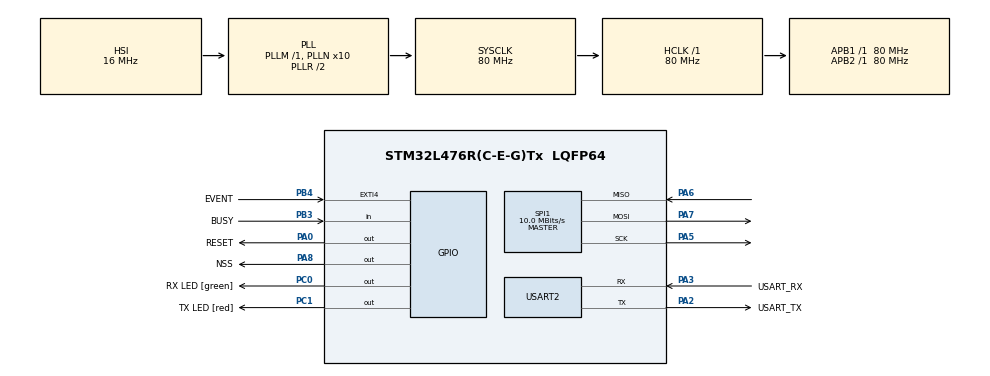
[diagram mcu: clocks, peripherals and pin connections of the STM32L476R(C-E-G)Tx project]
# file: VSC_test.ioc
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LPTIM1.ClockPrescaler=LPTIM_PRESCALER_DIV16
Mcu.Family=STM32L4
Mcu.Name=STM32L476R(C-E-G)Tx
Mcu.Package=LQFP64
NVIC.LPTIM1_IRQn=true\:0\:0\:false\:false\:true\:true\:true\:true
NVIC.PriorityGroup=NVIC_PRIORITYGROUP_4
PA0.GPIO_Label=RESET
PA0.Signal=GPIO_Output
PA13\ (JTMS-SWDIO).GPIO_Label=TMS
PA13\ (JTMS-SWDIO).Mode=Serial_Wire
PA13\ (JTMS-SWDIO).Signal=SYS_JTMS-SWDIO
PA14\ (JTCK-SWCLK).GPIO_Label=TCK
PA14\ (JTCK-SWCLK).Mode=Serial_Wire
PA14\ (JTCK-SWCLK).Signal=SYS_JTCK-SWCLK
PA2.GPIO_Label=USART_TX
PA2.GPIO_Mode=GPIO_MODE_AF_PP
PA2.GPIO_PuPd=GPIO_NOPULL
PA2.GPIO_Speed=GPIO_SPEED_FREQ_VERY_HIGH
PA2.Mode=Asynchronous
PA2.Signal=USART2_TX
PA3.GPIO_Label=USART_RX
PA3.GPIO_Mode=GPIO_MODE_AF_PP
PA3.GPIO_PuPd=GPIO_NOPULL
PA3.GPIO_Speed=GPIO_SPEED_FREQ_VERY_HIGH
PA3.Mode=Asynchronous
PA3.Signal=USART2_RX
PA5.Mode=Full_Duplex_Master
PA5.Signal=SPI1_SCK
PA6.Mode=Full_Duplex_Master
PA6.Signal=SPI1_MISO
PA7.Mode=Full_Duplex_Master
PA7.Signal=SPI1_MOSI
PA8.GPIO_Label=NSS
PA8.Signal=GPIO_Output
PB3\ (JTDO-TRACESWO).GPIO_Label=BUSY
PB3\ (JTDO-TRACESWO).Signal=GPIO_Input
PB4\ (NJTRST).GPIO_Label=EVENT
PB4\ (NJTRST).Signal=GPXTI4
PC0.GPIO_Label=RX LED [green]
PC0.Signal=GPIO_Output
PC1.GPIO_Label=TX LED [red]
PC1.Signal=GPIO_Output
PC14-OSC32_IN\ (PC14).Mode=LSE-External-Oscillator
PC14-OSC32_IN\ (PC14).Signal=RCC_OSC32_IN
PC15-OSC32_OUT\ (PC15).Mode=LSE-External-Oscillator
PC15-OSC32_OUT\ (PC15).Signal=RCC_OSC32_OUT
PH0-OSC_IN\ (PH0).Signal=RCC_OSC_IN
PH1-OSC_OUT\ (PH1).Signal=RCC_OSC_OUT
ProjectManager.HeapSize=0x200
ProjectManager.StackSize=0x400
ProjectManager.TargetToolchain=STM32CubeIDE
RCC.ADCFreq_Value=64000000
RCC.AHBFreq_Value=80000000
RCC.APB1Freq_Value=80000000
RCC.APB1TimFreq_Value=80000000
RCC.APB2Freq_Value=80000000
RCC.APB2TimFreq_Value=80000000
RCC.CortexFreq_Value=80000000
RCC.HCLKFreq_Value=80000000
RCC.HSE_VALUE=8000000
RCC.HSI_VALUE=16000000
RCC.MSI_VALUE=4000000
RCC.PLLN=10
RCC.PLLSourceVirtual=RCC_PLLSOURCE_HSI
RCC.PREFETCH_ENABLE=1
RCC.SYSCLKFreq_VALUE=80000000
RCC.SYSCLKSource=RCC_SYSCLKSOURCE_PLLCLK
RCC.USBFreq_Value=64000000
RCC.VCOOutputFreq_Value=160000000
SPI1.BaudRatePrescaler=SPI_BAUDRATEPRESCALER_8
SPI1.CalculateBaudRate=10.0 MBits/s
SPI1.DataSize=SPI_DATASIZE_8BIT
SPI1.Direction=SPI_DIRECTION_2LINES
SPI1.Mode=SPI_MODE_MASTER
SPI1.VirtualType=VM_MASTER
USART2.VirtualMode-Asynchronous=VM_ASYNC
VP_LPTIM1_VS_LPTIM_counterModeInternalClock.Mode=Counts__internal_clock_event_00
VP_RTC_VS_RTC_Activate.Mode=RTC_Enabled
VP_RTC_VS_RTC_Calendar.Mode=RTC_Calendar
board=NUCLEO-L476RG

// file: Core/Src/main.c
/* USER CODE BEGIN Header */
/**
  ******************************************************************************
  * @file           : main.c
  * @brief          : Main program body
  ******************************************************************************
  * @attention
  *
  * Copyright (c) 2024 STMicroelectronics.
  * All rights reserved.
  *
  * This software is licensed under terms that can be found in the LICENSE file
  * in the root directory of this software component.
  * If no LICENSE file comes with this software, it is provided AS-IS.
  *
  ******************************************************************************
  */
/* USER CODE END Header */
#include "main.h"

/* USER CODE BEGIN Includes */

#include "spi.h"

#include "lr1110_modem_board.h"
#include "system.h"

#include <stdlib.h>   // used for malloc function

#include "wifi_scan.h"
#include "gnss_scan.h"

#include "constants.h"

/* USER CODE END Includes */

LPTIM_HandleTypeDef hlptim1;

RTC_HandleTypeDef hrtc;

SPI_HandleTypeDef hspi1;

UART_HandleTypeDef huart2;

/* USER CODE BEGIN PV */

/*!
 * @brief Radio hardware and global parameters
 */
extern lr1110_t lr1110;

/* USER CODE END PV */

void SystemClock_Config(void);
static void MX_GPIO_Init(void);
static void MX_SPI1_Init(void);
static void MX_RTC_Init(void);
static void MX_LPTIM1_Init(void);
static void MX_USART2_UART_Init(void);
/* USER CODE BEGIN PFP */

/*!
 * @brief Reset event callback
 *
 * @param [in] reset_count reset counter from the modem
 */
static void lr1110_reset_event( uint16_t reset_count );

/*!
 * @brief Get LR1110 version
 *
 * @param [in] context Radio abstraction
 */
static void getLR1110_Bootloader_Version();

/*!
 * @brief Get LR1110 temperature
 *
 * @param [in] context Radio abstraction
 */
static void getLR1110_Temperature( const void* context);

/*!
 * @brief Get LR1110 GNSS version
 *
 * @param [in] context Radio abstraction
 */
static void getLR1110_GNSS_Version( const void* context);

/*!
 * @brief Get LR1110 Wi-Fi version
 *
 * @param [in] context Radio abstraction
 */
static void getLR1110_WiFi_Version( const void* context);

/*!
 * @brief Get LR1110 Chip EUI
 *
 * @param [in] context Radio abstraction
 */
static void getLR1110_Chip_EUI( const void* context);

/*!
 * @brief Reset LR1110
 */
static void resetLR1110();

/*!
 * @brief Setup TCXO
 *
 * @param [in] context Radio abstraction
 */
static void setupTCXO( const void* context );

/*!
 * @brief Turn on LED
 *
 * @param [in] LED_GPIO_Port
 * @param [in] LED_Pin
 */
void turnOnLED(GPIO_TypeDef* LED_GPIO_Port, uint16_t LED_Pin);

/*!
 * @brief Turn off LED
 *
 * @param [in] LED_GPIO_Port
 * @param [in] LED_Pin
 */
void turnOffLED(GPIO_TypeDef* LED_GPIO_Port, uint16_t LED_Pin);

/*!
 * @brief Toggle LED
 *
 * @param [in] LED_GPIO_Port
 * @param [in] LED_Pin
 */
void toggleLED(GPIO_TypeDef* LED_GPIO_Port, uint16_t LED_Pin);

/*!
 * @brief Blink LED
 *
 * @param [in] LED_GPIO_Port
 * @param [in] LED_Pin
 * @param [in] period
 * @param [in] count
 * @param [in] start
 */
void blinkLED(GPIO_TypeDef* LED_GPIO_Port, uint16_t LED_Pin, uint32_t period, uint8_t count, bool start);

/* USER CODE END PFP */

int main(void)
{

  /* MCU Configuration--------------------------------------------------------*/

  /* Reset of all peripherals, Initializes the Flash interface and the Systick. */
  HAL_Init();

  /* USER CODE BEGIN Init */

  lr1110_modem_response_code_t  modem_response_code         = LR1110_MODEM_RESPONSE_CODE_OK;
  lr1110_modem_event_callback_t lr1110_modem_event_callback = { NULL };

  /* Wi-Fi settings */
  // wifi_settings_t               wifi_settings;
  // static wifi_scan_all_results_t capture_result;

  /* GNSS settings */
  gnss_settings_t               gnss_settings;
  uint32_t                      unix_time = 0;
  gnss_scan_single_result_t     capture_result;

  int a = 0;

  void* lr1110_context = (void*) malloc(sizeof(radio_t));
  ((radio_t*)lr1110_context)->spi             = SPI1;
  ((radio_t*)lr1110_context)->nss.port        = GPIOA;
  ((radio_t*)lr1110_context)->nss.pin         = NSS_Pin;
  ((radio_t*)lr1110_context)->reset.port      = GPIOA;
  ((radio_t*)lr1110_context)->reset.pin       = RESET_Pin;
  // ((radio_t*)lr1110_context)->event.irq1.port = GPIOB;
  // ((radio_t*)lr1110_context)->event.irq1.pin = EVENT_Pin;
  ((radio_t*)lr1110_context)->event.pin       = EVENT_Pin;
  ((radio_t*)lr1110_context)->event.callback  = radio_event_callback;
  ((radio_t*)lr1110_context)->event.context   = ( ( radio_t* ) lr1110_context );
  ((radio_t*)lr1110_context)->busy.port       = GPIOB;
  ((radio_t*)lr1110_context)->busy.pin        = BUSY_Pin;

  /* USER CODE END Init */

  /* Configure the system clock */
  SystemClock_Config();

  /* Initialize all configured peripherals */
  MX_GPIO_Init();
  MX_SPI1_Init();
  MX_RTC_Init();
  MX_LPTIM1_Init();
  MX_USART2_UART_Init();
  /* USER CODE BEGIN 2 */

  hal_mcu_init();

  hal_uart_init( HAL_PRINTF_UART_ID, UART_TX, UART_RX );

  HAL_DBG_TRACE_MSG("-----------------------------\r\n\r\n");
  resetLR1110();

  blinkLED(GPIOC, RX_LED_Pin|TX_LED_Pin, 100, 5, true);

  setupTCXO(lr1110_context);

  getLR1110_Bootloader_Version(lr1110_context);
  getLR1110_WiFi_Version(lr1110_context);
  getLR1110_Chip_EUI(lr1110_context);

  // /* Init LR1110 modem-e event for WiFi*/
  // lr1110_modem_event_callback.wifi_scan_done = lr1110_modem_wifi_scan_done;
  // lr1110_modem_event_callback.reset          = lr1110_modem_reset_event;
  // modem_response_code                        = lr1110_modem_board_init( lr1110_context, &lr1110_modem_event_callback );
  // if( modem_response_code != LR1110_MODEM_RESPONSE_CODE_OK )
  // {
  //     HAL_DBG_TRACE_ERROR( "lr1110_modem_board_init failed (%d)\r\n", modem_response_code );
  // }

  /* Init LR1110 modem-e event for GNSS*/
  memset( &lr1110_modem_event_callback, 0, sizeof( lr1110_modem_event_callback ) );
  lr1110_modem_event_callback.gnss_scan_done = lr1110_modem_gnss_scan_done;
  lr1110_modem_event_callback.reset          = lr1110_reset_event;
  modem_response_code                        = lr1110_modem_board_init( lr1110_context, &lr1110_modem_event_callback );
  if( modem_response_code != LR1110_MODEM_RESPONSE_CODE_OK ) {
      HAL_DBG_TRACE_ERROR( "lr1110_modem_board_init failed (%d)\r\n", modem_response_code );
  }

  // /* Wi-Fi Parameters */
  // wifi_settings.enabled       = true;
  // wifi_settings.channels      = 0x3FFF;  // by default enable all channels
  // wifi_settings.types         = 0x04;
  // wifi_settings.scan_mode     = 2;
  // wifi_settings.nbr_retrials  = 5;
  // wifi_settings.max_results   = 1;
  // wifi_settings.timeout       = 90;
  // wifi_settings.result_format = LR1110_MODEM_WIFI_RESULT_FORMAT_BASIC_MAC_TYPE_CHANNEL;

  /* GNSS Parameters */
  memset( &gnss_settings, 0, sizeof( gnss_settings ) );
  gnss_settings.enabled              = true;
  gnss_settings.constellation_to_use = ( LR1110_MODEM_GNSS_GPS_MASK | LR1110_MODEM_GNSS_BEIDOU_MASK );
  gnss_settings.scan_type            = AUTONOMOUS_MODE;
  gnss_settings.search_mode          = LR1110_MODEM_GNSS_OPTION_BEST_EFFORT;

  if( gnss_settings.scan_type == ASSISTED_MODE ) {
      /* Set approximate position for assisted mode */
      gnss_settings.assistance_position.latitude  = 55.867;
      gnss_settings.assistance_position.longitude = 12.386;

      modem_response_code = lr1110_modem_gnss_set_assistance_position( lr1110_context, &gnss_settings.assistance_position );
      if( modem_response_code != LR1110_MODEM_RESPONSE_CODE_OK ) {
          HAL_DBG_TRACE_ERROR( "lr1110_modem_gnss_set_assistance_position failed (%d)\r\n", modem_response_code );
      }

      /* Get Unix time from user */
      unix_time = 1707491137;

      modem_response_code = lr1110_modem_set_gps_time( lr1110_context, unix_time - GNSS_EPOCH_SECONDS + GNSS_LEAP_SECONDS_OFFSET );
      if( modem_response_code != LR1110_MODEM_RESPONSE_CODE_OK ) {
          HAL_DBG_TRACE_ERROR( "lr1110_modem_set_gps_time failed (%d)\r\n", modem_response_code );
      }
  }

  /* USER CODE END 2 */

  /* Infinite loop */
  /* USER CODE BEGIN WHILE */
  while (1) {

    //turnOnLED(GPIOC, RX_LED_Pin);
    //turnOffLED(GPIOC, RX_LED_Pin);
    //toggleLED(GPIOC, RX_LED_Pin|TX_LED_Pin);

    HAL_DBG_TRACE_PRINTF("a = %d\r\n", a++);

    getLR1110_Temperature(lr1110_context);

    getLR1110_GNSS_Version(lr1110_context);

    // if( wifi_execute_scan( lr1110_context, &wifi_settings, &capture_result ) == WIFI_SCAN_SUCCESS ) {
    //   HAL_DBG_TRACE_MSG( "Success\n\r" );
    //   HAL_DBG_TRACE_MSG("capture_result = {\n\r");
    //   // HAL_DBG_TRACE_MSG("  scan_mode = %d\n\r", capture_result.scan_mode);
    //   // HAL_DBG_TRACE_MSG("  result_format = %d\n\r", capture_result.result_format);
    //   // HAL_DBG_TRACE_MSG("  nbr_results = %d\n\r", capture_result.nbr_results);
    //   HAL_DBG_TRACE_MSG("  basic_mac_type_channel_results = {\n\r");
    //   HAL_DBG_TRACE_PRINTF("    mac_address = %02X:%02X:%02X:%02X:%02X:%02X\n\r", capture_result.basic_mac_type_channel_results[0].mac_address[0], capture_result.basic_mac_type_channel_results[0].mac_address[1], capture_result.basic_mac_type_channel_results[0].mac_address[2], capture_result.basic_mac_type_channel_results[0].mac_address[3], capture_result.basic_mac_type_channel_results[0].mac_address[4], capture_result.basic_mac_type_channel_results[0].mac_address[5]);
    // } else {
    //   HAL_DBG_TRACE_ERROR( "Wi-Fi scan timeout\n\r" );
    // }

    // gnss_scan_result_t scan_result;
    // memset( &capture_result, 0, sizeof( capture_result ) );
    // scan_result = gnss_scan_execute( lr1110_context, &gnss_settings, &capture_result );
    // if( scan_result == GNSS_SCAN_SUCCESS ) {
    //   HAL_DBG_TRACE_MSG("capture_result = {\n\r");
    //   HAL_DBG_TRACE_PRINTF("  is_valid_nav_message = %d\n\r", capture_result.is_valid_nav_message);
    //   HAL_DBG_TRACE_PRINTF("  nav_message_size = %d\n\r", capture_result.nav_message_size);
    //   HAL_DBG_TRACE_PRINTF("  nav_message = %02X:%02X:%02X:%02X:%02X:%02X\n\r", capture_result.nav_message[0], capture_result.nav_message[1], capture_result.nav_message[2], capture_result.nav_message[3], capture_result.nav_message[4], capture_result.nav_message[5]);
    //   HAL_DBG_TRACE_PRINTF("  nb_detected_satellites = %d\n\r", capture_result.nb_detected_satellites);
    //   HAL_DBG_TRACE_PRINTF("  detected_satellites = {\n\r");
    //   HAL_DBG_TRACE_PRINTF("    satellite_id = %d\n\r", capture_result.detected_satellites[0].satellite_id);
    // } else if (scan_result == GNSS_SCAN_NO_TIME) {
    //   HAL_DBG_TRACE_ERROR( "No time\n\r" );
    // } else if (scan_result == GNSS_SCAN_FAIL) {
    //   HAL_DBG_TRACE_ERROR( "gnss_scan_execute failed (%d)\r\n", scan_result );
    // }

    /* USER CODE END WHILE */

    /* USER CODE BEGIN 3 */
    HAL_Delay(1000);
  }
  /* USER CODE END 3 */
}

void SystemClock_Config(void)
{
  RCC_OscInitTypeDef RCC_OscInitStruct = {0};
  RCC_ClkInitTypeDef RCC_ClkInitStruct = {0};

  /** Configure the main internal regulator output voltage
  */
  if (HAL_PWREx_ControlVoltageScaling(PWR_REGULATOR_VOLTAGE_SCALE1) != HAL_OK)
  {
    Error_Handler();
  }

  /** Initializes the RCC Oscillators according to the specified parameters
  * in the RCC_OscInitTypeDef structure.
  */
  RCC_OscInitStruct.OscillatorType = RCC_OSCILLATORTYPE_HSI|RCC_OSCILLATORTYPE_LSI;
  RCC_OscInitStruct.HSIState = RCC_HSI_ON;
  RCC_OscInitStruct.HSICalibrationValue = RCC_HSICALIBRATION_DEFAULT;
  RCC_OscInitStruct.LSIState = RCC_LSI_ON;
  RCC_OscInitStruct.PLL.PLLState = RCC_PLL_ON;
  RCC_OscInitStruct.PLL.PLLSource = RCC_PLLSOURCE_HSI;
  RCC_OscInitStruct.PLL.PLLM = 1;
  RCC_OscInitStruct.PLL.PLLN = 10;
  RCC_OscInitStruct.PLL.PLLP = RCC_PLLP_DIV7;
  RCC_OscInitStruct.PLL.PLLQ = RCC_PLLQ_DIV2;
  RCC_OscInitStruct.PLL.PLLR = RCC_PLLR_DIV2;
  if (HAL_RCC_OscConfig(&RCC_OscInitStruct) != HAL_OK)
  {
    Error_Handler();
  }

  /** Initializes the CPU, AHB and APB buses clocks
  */
  RCC_ClkInitStruct.ClockType = RCC_CLOCKTYPE_HCLK|RCC_CLOCKTYPE_SYSCLK
                              |RCC_CLOCKTYPE_PCLK1|RCC_CLOCKTYPE_PCLK2;
  RCC_ClkInitStruct.SYSCLKSource = RCC_SYSCLKSOURCE_PLLCLK;
  RCC_ClkInitStruct.AHBCLKDivider = RCC_SYSCLK_DIV1;
  RCC_ClkInitStruct.APB1CLKDivider = RCC_HCLK_DIV1;
  RCC_ClkInitStruct.APB2CLKDivider = RCC_HCLK_DIV1;

  if (HAL_RCC_ClockConfig(&RCC_ClkInitStruct, FLASH_LATENCY_4) != HAL_OK)
  {
    Error_Handler();
  }
}

static void MX_LPTIM1_Init(void)
{

  hlptim1.Instance = LPTIM1;
  hlptim1.Init.Clock.Source = LPTIM_CLOCKSOURCE_APBCLOCK_LPOSC;
  hlptim1.Init.Clock.Prescaler = LPTIM_PRESCALER_DIV16;
  hlptim1.Init.Trigger.Source = LPTIM_TRIGSOURCE_SOFTWARE;
  hlptim1.Init.OutputPolarity = LPTIM_OUTPUTPOLARITY_HIGH;
  hlptim1.Init.UpdateMode = LPTIM_UPDATE_IMMEDIATE;
  hlptim1.Init.CounterSource = LPTIM_COUNTERSOURCE_INTERNAL;
  hlptim1.Init.Input1Source = LPTIM_INPUT1SOURCE_GPIO;
  hlptim1.Init.Input2Source = LPTIM_INPUT2SOURCE_GPIO;
  if (HAL_LPTIM_Init(&hlptim1) != HAL_OK)
  {
    Error_Handler();
  }

}

static void MX_RTC_Init(void)
{

  RTC_TimeTypeDef sTime = {0};
  RTC_DateTypeDef sDate = {0};

  /** Initialize RTC Only
  */
  hrtc.Instance = RTC;
  hrtc.Init.HourFormat = RTC_HOURFORMAT_24;
  hrtc.Init.AsynchPrediv = 127;
  hrtc.Init.SynchPrediv = 255;
  hrtc.Init.OutPut = RTC_OUTPUT_DISABLE;
  hrtc.Init.OutPutRemap = RTC_OUTPUT_REMAP_NONE;
  hrtc.Init.OutPutPolarity = RTC_OUTPUT_POLARITY_HIGH;
  hrtc.Init.OutPutType = RTC_OUTPUT_TYPE_OPENDRAIN;
  if (HAL_RTC_Init(&hrtc) != HAL_OK)
  {
    Error_Handler();
  }

  /** Initialize RTC and set the Time and Date
  */
  sTime.Hours = 0x0;
  sTime.Minutes = 0x0;
  sTime.Seconds = 0x0;
  sTime.DayLightSaving = RTC_DAYLIGHTSAVING_NONE;
  sTime.StoreOperation = RTC_STOREOPERATION_RESET;
  if (HAL_RTC_SetTime(&hrtc, &sTime, RTC_FORMAT_BCD) != HAL_OK)
  {
    Error_Handler();
  }
  sDate.WeekDay = RTC_WEEKDAY_MONDAY;
  sDate.Month = RTC_MONTH_JANUARY;
  sDate.Date = 0x1;
  sDate.Year = 0x0;

  if (HAL_RTC_SetDate(&hrtc, &sDate, RTC_FORMAT_BCD) != HAL_OK)
  {
    Error_Handler();
  }

}

static void MX_SPI1_Init(void)
{

  /* SPI1 parameter configuration*/
  hspi1.Instance = SPI1;
  hspi1.Init.Mode = SPI_MODE_MASTER;
  hspi1.Init.Direction = SPI_DIRECTION_2LINES;
  hspi1.Init.DataSize = SPI_DATASIZE_8BIT;
  hspi1.Init.CLKPolarity = SPI_POLARITY_LOW;
  hspi1.Init.CLKPhase = SPI_PHASE_1EDGE;
  hspi1.Init.NSS = SPI_NSS_SOFT;
  hspi1.Init.BaudRatePrescaler = SPI_BAUDRATEPRESCALER_8;
  hspi1.Init.FirstBit = SPI_FIRSTBIT_MSB;
  hspi1.Init.TIMode = SPI_TIMODE_DISABLE;
  hspi1.Init.CRCCalculation = SPI_CRCCALCULATION_DISABLE;
  hspi1.Init.CRCPolynomial = 7;
  hspi1.Init.CRCLength = SPI_CRC_LENGTH_DATASIZE;
  hspi1.Init.NSSPMode = SPI_NSS_PULSE_ENABLE;
  if (HAL_SPI_Init(&hspi1) != HAL_OK)
  {
    Error_Handler();
  }
  /* USER CODE BEGIN SPI1_Init 2 */

  __HAL_SPI_ENABLE( &hspi1 );

  /* USER CODE END SPI1_Init 2 */

}

static void MX_USART2_UART_Init(void)
{

  huart2.Instance = USART2;
  huart2.Init.BaudRate = 115200;
  huart2.Init.WordLength = UART_WORDLENGTH_8B;
  huart2.Init.StopBits = UART_STOPBITS_1;
  huart2.Init.Parity = UART_PARITY_NONE;
  huart2.Init.Mode = UART_MODE_TX_RX;
  huart2.Init.HwFlowCtl = UART_HWCONTROL_NONE;
  huart2.Init.OverSampling = UART_OVERSAMPLING_16;
  huart2.Init.OneBitSampling = UART_ONE_BIT_SAMPLE_DISABLE;
  huart2.AdvancedInit.AdvFeatureInit = UART_ADVFEATURE_NO_INIT;
  if (HAL_UART_Init(&huart2) != HAL_OK)
  {
    Error_Handler();
  }

}

static void MX_GPIO_Init(void)
{
  GPIO_InitTypeDef GPIO_InitStruct = {0};

  /* GPIO Ports Clock Enable */
  __HAL_RCC_GPIOC_CLK_ENABLE();
  __HAL_RCC_GPIOH_CLK_ENABLE();
  __HAL_RCC_GPIOA_CLK_ENABLE();
  __HAL_RCC_GPIOB_CLK_ENABLE();

  /*Configure GPIO pin Output Level */
  HAL_GPIO_WritePin(GPIOC, RX_LED_Pin|TX_LED_Pin, GPIO_PIN_RESET);

  /*Configure GPIO pin Output Level */
  HAL_GPIO_WritePin(GPIOA, RESET_Pin|NSS_Pin, GPIO_PIN_RESET);

  /*Configure GPIO pins : RX_LED_Pin TX_LED_Pin */
  GPIO_InitStruct.Pin = RX_LED_Pin|TX_LED_Pin;
  GPIO_InitStruct.Mode = GPIO_MODE_OUTPUT_PP;
  GPIO_InitStruct.Pull = GPIO_NOPULL;
  GPIO_InitStruct.Speed = GPIO_SPEED_FREQ_LOW;
  HAL_GPIO_Init(GPIOC, &GPIO_InitStruct);

  /*Configure GPIO pins : RESET_Pin NSS_Pin */
  GPIO_InitStruct.Pin = RESET_Pin|NSS_Pin;
  GPIO_InitStruct.Mode = GPIO_MODE_OUTPUT_PP;
  GPIO_InitStruct.Pull = GPIO_NOPULL;
  GPIO_InitStruct.Speed = GPIO_SPEED_FREQ_LOW;
  HAL_GPIO_Init(GPIOA, &GPIO_InitStruct);

  /*Configure GPIO pin : BUSY_Pin */
  GPIO_InitStruct.Pin = BUSY_Pin;
  GPIO_InitStruct.Mode = GPIO_MODE_INPUT;
  GPIO_InitStruct.Pull = GPIO_NOPULL;
  HAL_GPIO_Init(BUSY_GPIO_Port, &GPIO_InitStruct);

  /*Configure GPIO pin : EVENT_Pin */
  GPIO_InitStruct.Pin = EVENT_Pin;
  GPIO_InitStruct.Mode = GPIO_MODE_IT_RISING;
  GPIO_InitStruct.Pull = GPIO_NOPULL;
  HAL_GPIO_Init(EVENT_GPIO_Port, &GPIO_InitStruct);

}

/* USER CODE BEGIN 4 */

/*
 * -----------------------------------------------------------------------------
 * --- PRIVATE FUNCTIONS DEFINITION --------------------------------------------
 */

static void lr1110_reset_event( uint16_t reset_count ) {
    HAL_DBG_TRACE_INFO( "###### ===== LR1110 MODEM-E RESET %lu ==== ######\r\n\r\n", reset_count );

    if( lr1110_modem_board_is_ready( ) == true )
    {
        /* System reset */
        hal_mcu_reset( );
    }
    else
    {
        lr1110_modem_board_set_ready( true );
    }
}

void turnOnLED(GPIO_TypeDef* LED_GPIO_Port, uint16_t LED_Pin) {
  HAL_GPIO_WritePin(LED_GPIO_Port, LED_Pin, GPIO_PIN_SET);
}

void turnOffLED(GPIO_TypeDef* LED_GPIO_Port, uint16_t LED_Pin) {
  HAL_GPIO_WritePin(LED_GPIO_Port, LED_Pin, GPIO_PIN_RESET);
}

void toggleLED(GPIO_TypeDef* LED_GPIO_Port, uint16_t LED_Pin) {
  HAL_GPIO_TogglePin(LED_GPIO_Port, LED_Pin);
}

void blinkLED(GPIO_TypeDef* LED_GPIO_Port, uint16_t LED_Pin, uint32_t period, uint8_t count, bool start) {
  if (start) {
    for (uint8_t i = 0; i < count; i++) {
      turnOnLED(LED_GPIO_Port, LED_Pin);
      HAL_Delay(period);
      turnOffLED(LED_GPIO_Port, LED_Pin);
      HAL_Delay(period);
    }
  }
}

void getLR1110_Bootloader_Version( const void* context ) {
  HAL_DBG_TRACE_INFO("Getting LR1110 version... ");

  lr1110_bootloader_version_t bootloader_version;

  uint8_t cbuffer[LR1110_VERSION_CMD_LENGTH];
  uint8_t rbuffer[LR1110_VERSION_LENGTH] = { 0 };

  cbuffer[0] = ( uint8_t )( LR1110_GET_VERSION_OC >> 8 );
  cbuffer[1] = ( uint8_t )( LR1110_GET_VERSION_OC >> 0 );

  if (lr1110_spi_read(context, cbuffer, LR1110_VERSION_CMD_LENGTH, rbuffer, LR1110_VERSION_LENGTH ) == LR1110_STATUS_OK) {
    HAL_DBG_TRACE_MSG_COLOR("DONE\r\n", HAL_DBG_TRACE_COLOR_GREEN);

    HAL_DBG_TRACE_INFO("LR1110 bootloader hardware version: %d\r\n", rbuffer[0]);
    switch (rbuffer[1]) {
        case 1:
            HAL_DBG_TRACE_INFO("LR1110 bootloader type: LR1110\r\n");
            break;
        case 2:
            HAL_DBG_TRACE_INFO("LR1110 bootloader type: LR1120\r\n");
            break;
        case 3:
            HAL_DBG_TRACE_INFO("LR1110 bootloader type: LR1121\r\n");
            break;
        default:
            break;
    }
    HAL_DBG_TRACE_INFO("LR1110 bootloader firmware version: %d.%d\r\n", rbuffer[2], rbuffer[3]);
  } else {
    HAL_DBG_TRACE_ERROR("\r\nFailed to get LR1110 bootloader version\r\n");
  }
}

void getLR1110_Temperature( const void* context ) {
  HAL_DBG_TRACE_INFO("Getting LR1110 temperature... ");

  uint8_t cbuffer[LR1110_TEMPERATURE_CMD_LENGTH];
  uint8_t rbuffer[LR1110_TEMPERATURE_LENGTH] = { 0 };

  cbuffer[0] = ( uint8_t )( LR1110_GET_TEMPERATURE >> 8 );
  cbuffer[1] = ( uint8_t )( LR1110_GET_TEMPERATURE >> 0 );

  if (lr1110_spi_read( context, cbuffer, LR1110_TEMPERATURE_CMD_LENGTH, rbuffer, LR1110_TEMPERATURE_LENGTH ) == LR1110_STATUS_OK) {
    HAL_DBG_TRACE_MSG_COLOR("DONE\r\n", HAL_DBG_TRACE_COLOR_GREEN);

    uint16_t temp_10_0 = ((rbuffer[0] << 8) | rbuffer[1]) & 0x7FF;
    float temperature = 25 + (1000/(-1.7)) * ((temp_10_0/2047.0) * 1.35 - 0.7295);

    HAL_DBG_TRACE_INFO("LR1110 temperature: %d.%d °C\r\n", (int)temperature, (int)((temperature - (int)temperature) * 100));
  } else {
    HAL_DBG_TRACE_ERROR("\r\nFailed to get LR1110 temperature\r\n");
  }
}

void getLR1110_GNSS_Version( const void* context ) {
  HAL_DBG_TRACE_INFO("Getting GNSS version... ");

  uint8_t cbuffer[LR1110_GNSS_VERSION_CMD_LENGTH];
  uint8_t rbuffer[LR1110_GNSS_VERSION_LENGTH] = { 0 };

  cbuffer[0] = LR1110_GROUP_ID_GNSS;
  cbuffer[1] = LR1110_GNSS_READ_FW_VERSION_CMD;

  if (lr1110_spi_read( context, cbuffer, LR1110_GNSS_VERSION_CMD_LENGTH, rbuffer, LR1110_GNSS_VERSION_LENGTH ) == LR1110_STATUS_OK) {
    HAL_DBG_TRACE_MSG_COLOR("DONE\r\n", HAL_DBG_TRACE_COLOR_GREEN);

    HAL_DBG_TRACE_INFO("GNSS firmware version = %d\n\r", rbuffer[0]);
    HAL_DBG_TRACE_INFO("GNSS almanac version = %d\n\r", rbuffer[1]);
  } else {
    HAL_DBG_TRACE_ERROR("Failed to get GNSS version\r\n");
  }
}

void getLR1110_WiFi_Version( const void* context ) {
  HAL_DBG_TRACE_INFO("Getting Wi-Fi version... ");

  uint8_t cbuffer[LR1110_WIFI_VERSION_CMD_LENGTH];
  uint8_t rbuffer[LR1110_WIFI_VERSION_LENGTH] = { 0 };

  cbuffer[0] = LR1110_GROUP_ID_WIFI;
  cbuffer[1] = LR1110_WIFI_GET_FIRMWARE_WIFI_VERSION_CMD;

  if (lr1110_spi_read( context, cbuffer, LR1110_WIFI_VERSION_CMD_LENGTH, rbuffer, LR1110_WIFI_VERSION_LENGTH ) == LR1110_STATUS_OK) {
    HAL_DBG_TRACE_MSG_COLOR("DONE\r\n", HAL_DBG_TRACE_COLOR_GREEN);

    HAL_DBG_TRACE_INFO("Wi-Fi firmware version: %d.%d\r\n", rbuffer[0], rbuffer[1]);
  } else {
    HAL_DBG_TRACE_ERROR("Failed to get Wi-Fi version\r\n");
  }
}

void getLR1110_Chip_EUI( const void* context ) {
  HAL_DBG_TRACE_INFO("Getting LR1110 Chip EUI... ");

  uint8_t cbuffer[LR1110_CHIP_EUI_CMD_LENGTH];
  uint8_t rbuffer[LR1110_CHIP_EUI_LENGTH] = { 0 };

  cbuffer[0] = ( uint8_t )( LR1110_GET_CHIP_EUI_OC >> 8 );
  cbuffer[1] = ( uint8_t )( LR1110_GET_CHIP_EUI_OC >> 0 );

  if (lr1110_spi_read( context, cbuffer, LR1110_CHIP_EUI_CMD_LENGTH, rbuffer, LR1110_CHIP_EUI_LENGTH ) == LR1110_STATUS_OK) {
    HAL_DBG_TRACE_MSG_COLOR("DONE\r\n", HAL_DBG_TRACE_COLOR_GREEN);

    HAL_DBG_TRACE_INFO("Chip EUI: %02X:%02X:%02X:%02X:%02X:%02X:%02X:%02X\r\n", rbuffer[0], rbuffer[1], rbuffer[2], rbuffer[3], rbuffer[4], rbuffer[5], rbuffer[6], rbuffer[7]);
  } else {
    HAL_DBG_TRACE_ERROR("Failed to get LR1110 Chip EUI\r\n");
  }
}

void resetLR1110() {
  HAL_DBG_TRACE_INFO("Resetting LR1110... ");
  HAL_GPIO_WritePin(RESET_GPIO_Port, RESET_Pin, GPIO_PIN_RESET);
  HAL_Delay(100);
  HAL_GPIO_WritePin(RESET_GPIO_Port, RESET_Pin, GPIO_PIN_SET);
  HAL_DBG_TRACE_MSG_COLOR("DONE\r\n", HAL_DBG_TRACE_COLOR_GREEN);
}

void setupTCXO( const void* context ) {
    HAL_DBG_TRACE_INFO( "Setting up TCXO... " );
    lr1110_modem_system_set_tcxo_mode( context, LR1110_MODEM_SYSTEM_TCXO_CTRL_1_8V,
                                              ( lr1110_modem_board_get_tcxo_wakeup_time( ) * 1000 ) / 30.52 );
    HAL_DBG_TRACE_MSG_COLOR("DONE\r\n", HAL_DBG_TRACE_COLOR_GREEN);
}

/* USER CODE END 4 */

void Error_Handler(void)
{
  /* USER CODE BEGIN Error_Handler_Debug */

  CRITICAL_SECTION_BEGIN( );

  HAL_DBG_TRACE_ERROR( "%s\n", __func__ );
  HAL_DBG_TRACE_ERROR( "PANIC" );

  /* User can add his own implementation to report the HAL error return state */
  __disable_irq();

  /* Restart system */
  NVIC_SystemReset( );

  while (1) {  }
  /* USER CODE END Error_Handler_Debug */
}
